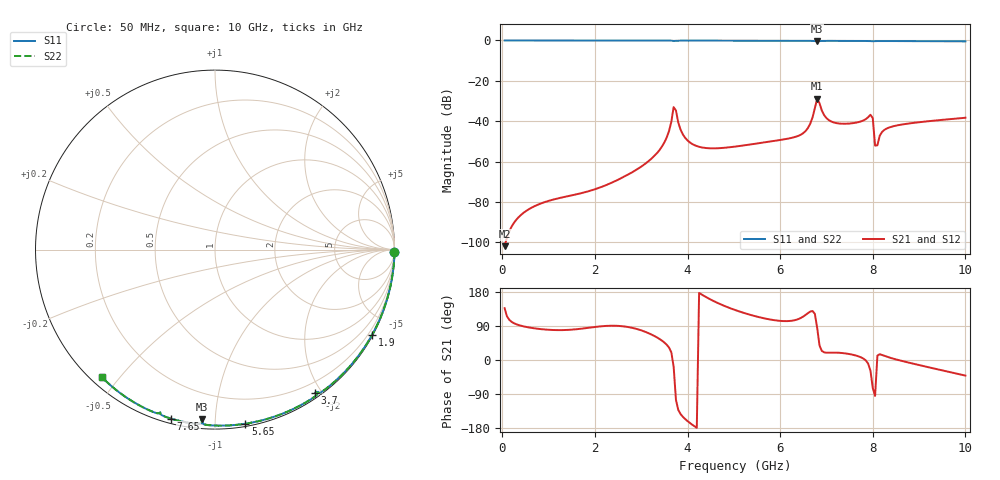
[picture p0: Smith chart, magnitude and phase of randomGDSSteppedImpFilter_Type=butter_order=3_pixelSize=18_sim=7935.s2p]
! freq	dB(S11)	phase(S11)	dB(S12)	phase(S12)
!  dB(S21)	phase(S21)	dB(S22)	phase(S22)
!S-par simulation data
#  GHz  S  DB  R 50
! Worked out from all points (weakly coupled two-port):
!   200 points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, 50 MHz to 10 GHz, reference 50 ohm
!   highest |S21| = -28.83 dB at 6.8 GHz (marker M1); lowest = -101.9 dB at 50 MHz (marker M2)
!   lowest |S11| = -0.5 dB at 6.8 GHz (marker M3), VSWR 36.61, Z = 2.53 - j46.1 ohm
!   |S11| at or under -10 dB: nowhere
!   |S22| runs from -0.5 to 0.0 dB; largest |S21 - S12| = 0
!   S11 on the Smith chart (normalised r, x): 50 MHz: open; 1.9 GHz: 0.03, -3.94; 3.7 GHz: 0.06, -1.92; 5.65 GHz: 0.02, -1.19; 7.65 GHz: 0.02, -0.77; 10 GHz: 0.03, -0.45
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0.05  -0.00 -0.8  -101.88 136.8  -101.88 136.8  -0.00 -0.8
0.9  -0.02 -13.6  -80.18 80.7  -80.18 80.7  -0.02 -13.6
1.75  -0.03 -26.3  -75.38 83.3  -75.38 83.3  -0.03 -26.3
1.9  -0.04 -28.5  -74.42 85.7  -74.42 85.7  -0.04 -28.5
2.8  -0.05 -41.5  -65.35 85.0  -65.35 85.0  -0.05 -41.5
3.4  -0.07 -50.1  -54.13 55.1  -54.13 55.1  -0.07 -50.1
3.6  -0.08 -53.1  -44.89 32.9  -44.89 32.9  -0.08 -53.1
3.7  -0.24 -55.0  -33.01 -17.5  -33.01 -17.5  -0.24 -55.0
3.9  -0.08 -56.7  -46.56 -150.0  -46.56 -150.0  -0.09 -56.7
4.1  -0.09 -59.5  -51.26 -170.6  -51.26 -170.6  -0.09 -59.5
5.05  -0.11 -72.3  -52.50 130.9  -52.50 130.9  -0.11 -72.3
5.65  -0.13 -80.1  -50.52 110.1  -50.52 110.1  -0.13 -80.1
6.45  -0.17 -90.3  -46.63 111.2  -46.63 111.2  -0.17 -90.3
6.7  -0.23 -93.8  -38.08 129.3  -38.08 129.3  -0.23 -93.8
6.8  -0.47 -94.5  -28.83 84.3  -28.83 84.3  -0.48 -94.5
7.05  -0.21 -97.1  -39.44 19.4  -39.44 19.4  -0.21 -97.1
7.65  -0.24 -104.6  -40.66 11.3  -40.66 11.3  -0.24 -104.6
7.95  -0.32 -108.4  -36.80 -28.2  -36.80 -28.2  -0.32 -108.4
8  -0.39 -108.6  -38.49 -73.8  -38.49 -73.8  -0.39 -108.6
8.05  -0.32 -108.8  -52.07 -94.9  -52.07 -94.9  -0.32 -108.8
8.35  -0.29 -112.6  -43.13 6.8  -43.13 6.8  -0.29 -112.6
10  -0.44 -131.5  -38.29 -41.1  -38.29 -41.1  -0.44 -131.5
